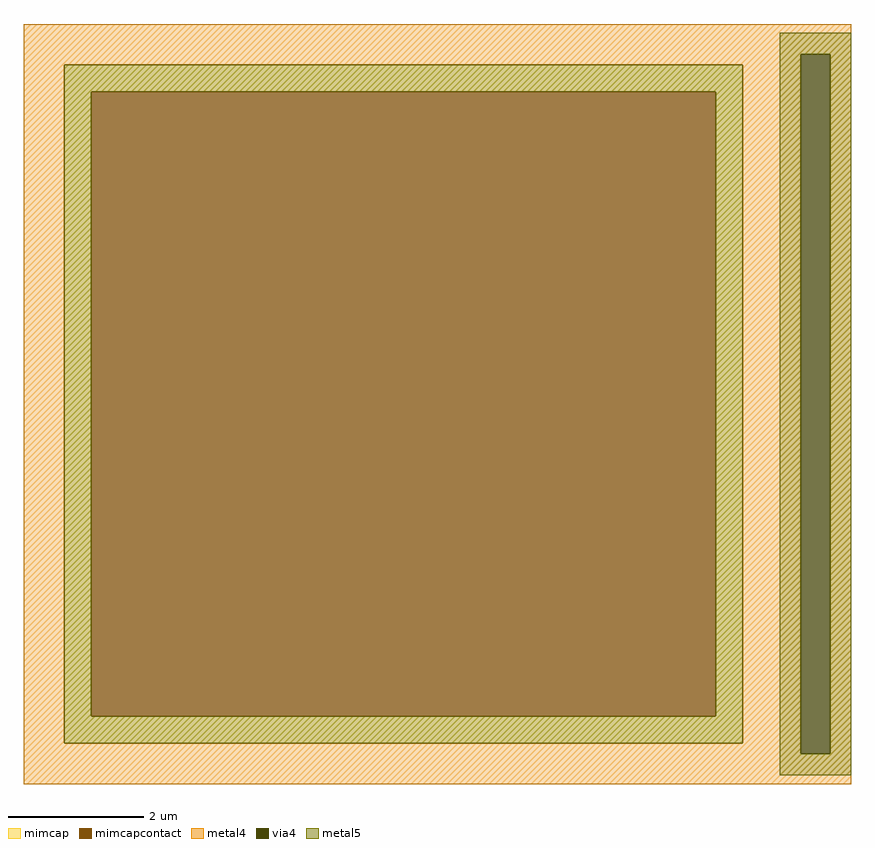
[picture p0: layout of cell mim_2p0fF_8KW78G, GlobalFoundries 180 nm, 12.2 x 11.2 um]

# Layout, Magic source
magic
tech gf180mcuD
magscale 1 10
<< mimcap >>
rect -1100 920 900 1000
rect -1100 -920 -1020 920
rect 820 -920 900 920
rect -1100 -1000 900 -920
<< mimcapcontact >>
rect -1020 -920 820 920
<< metal4 >>
rect -1220 1031 1220 1120
rect -1220 1000 1070 1031
rect -1220 -1000 -1100 1000
rect 900 -1000 1070 1000
rect -1220 -1031 1070 -1000
rect 1158 -1031 1220 1031
rect -1220 -1120 1220 -1031
<< via4 >>
rect 1070 -1031 1158 1031
<< metal5 >>
rect 1008 1031 1220 1094
rect -1100 920 900 1000
rect -1100 -920 -1020 920
rect 820 -920 900 920
rect -1100 -1000 900 -920
rect 1008 -1031 1070 1031
rect 1158 -1031 1220 1031
rect 1008 -1094 1220 -1031
<< properties >>
string FIXED_BBOX -1180 -1080 980 1080
string MASKHINTS_CAP_LENGTH -1100 -1000 900 -900
string gencell mim_2p0fF
string library gf180mcu
string parameters w 10.00 l 10.00 val 3.3k carea 25.00 cperi 20.00 nx 1 ny 1 dummy 0 square 0 lmin 5.00 wmin 5.00 lmax 100.0 wmax 100.0 dc 0 bconnect 1 tconnect 1
<< end >>
